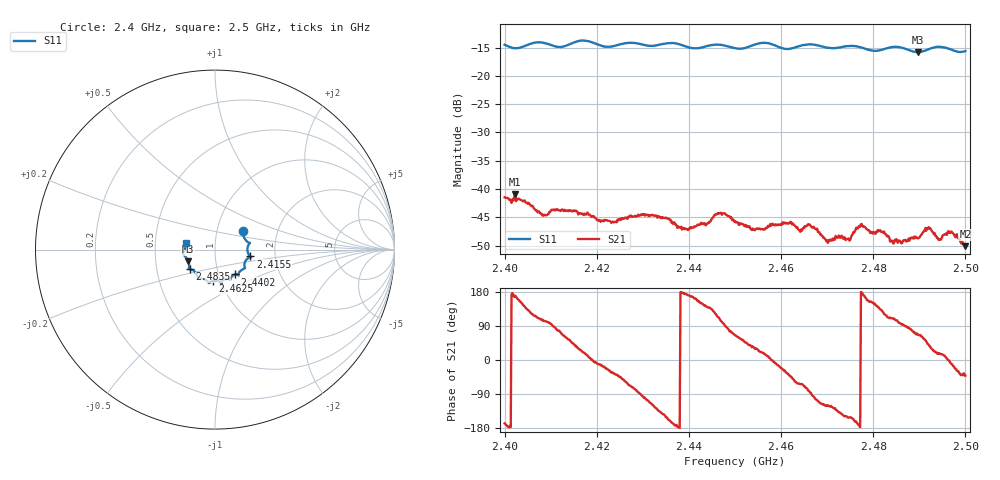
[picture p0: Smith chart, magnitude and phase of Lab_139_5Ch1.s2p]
# Hz S RI R 50
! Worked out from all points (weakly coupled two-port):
!   601 points, 2.4 GHz to 2.5 GHz, reference 50 ohm
!   highest |S21| = -40.88 dB at 2.4023 GHz (marker M1); lowest = -50.1 dB at 2.5 GHz (marker M2)
!   lowest |S11| = -15.8 dB at 2.4897 GHz (marker M3), VSWR 1.39, Z = 36.8 - j4.85 ohm
!   |S11| at or under -10 dB: start of sweep to end of sweep
!   S12 and S22 are empty: the file has one direction only
!   S11 on the Smith chart (normalised r, x): 2.4 GHz: 1.33, +0.29; 2.4155 GHz: 1.49, -0.12; 2.4402 GHz: 1.20, -0.34; 2.4625 GHz: 0.92, -0.33; 2.4835 GHz: 0.74, -0.17; 2.5 GHz: 0.72, +0.06
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2.4e9  0.1564 0.1052  -0.00823 -0.00186  0 0  0 0
2.402333e9  0.1618 0.0695  -0.00889 0.00163  0 0  0 0
2.408667e9  0.1925 0.0347  -0.0013 0.00577  0 0  0 0
2.4155e9  0.1971 -0.0383  0.00512 0.0039  0 0  0 0
2.416667e9  0.2011 -0.0424  0.00549 0.00252  0 0  0 0
2.423667e9  0.1636 -0.0831  0.00412 -0.00296  0 0  0 0
2.433333e9  0.1321 -0.1334  -0.00396 -0.00419  0 0  0 0
2.440167e9  0.1117 -0.1384  -0.00439 0.00077  0 0  0 0
2.4465e9  0.0842 -0.1692  -0.00225 0.00563  0 0  0 0
2.45e9  0.0645 -0.1636  0.00214 0.00473  0 0  0 0
2.454e9  0.0364 -0.1841  0.00365 0.00243  0 0  0 0
2.4625e9  -0.0109 -0.1757  0.00322 -0.00379  0 0  0 0
2.466667e9  -0.0345 -0.1868  -0.000188 -0.0046  0 0  0 0
2.470333e9  -0.0514 -0.1695  -0.00183 -0.00303  0 0  0 0
2.474667e9  -0.0903 -0.1604  -0.00322 -0.00171  0 0  0 0
2.477333e9  -0.0977 -0.15  -0.00488 2.62e-05  0 0  0 0
2.483333e9  -0.1394 -0.1097  -0.00142 0.00354  0 0  0 0
2.4835e9  -0.1402 -0.1097  -0.00129 0.00347  0 0  0 0
2.489667e9  -0.1487 -0.0642  0.00145 0.00336  0 0  0 0
2.492167e9  -0.1695 -0.0346  0.00357 0.00268  0 0  0 0
2.496833e9  -0.1714 -0.00698  0.00412 -0.000666  0 0  0 0
2.5e9  -0.1611 0.039  0.00234 -0.00207  0 0  0 0
